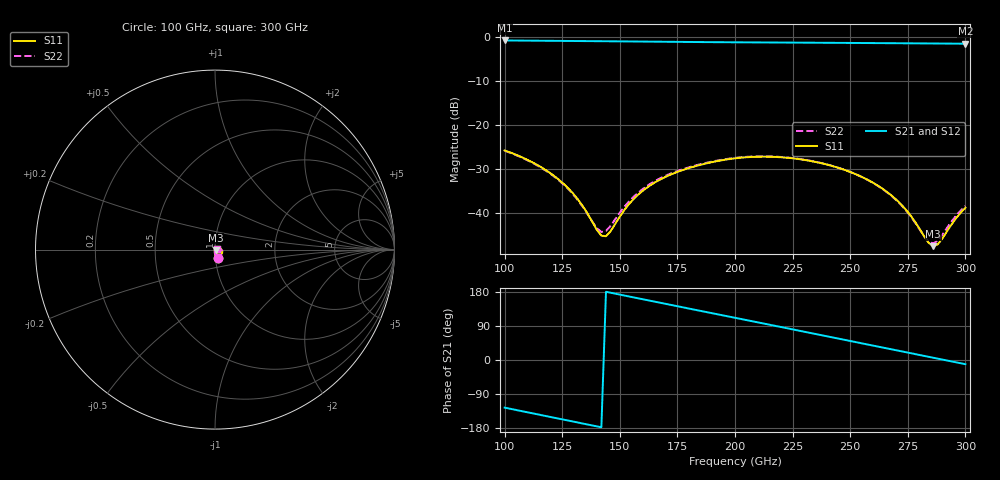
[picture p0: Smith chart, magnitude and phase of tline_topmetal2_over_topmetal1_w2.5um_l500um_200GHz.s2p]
#  GHZ S DB R 50
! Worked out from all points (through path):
!   101 points, 100 GHz to 300 GHz, reference 50 ohm
!   highest |S21| = -0.85 dB at 100 GHz (marker M1); lowest = -1.6 dB at 300 GHz (marker M2)
!   group delay of S21, straight-line fit = 3.4 ps
!   lowest |S11| = -47.4 dB at 286 GHz (marker M3), VSWR 1.01, Z = 50.4 - j0.23 ohm
!   |S11| at or under -10 dB: start of sweep to end of sweep
!   |S22| runs from -46.8 to -25.8 dB; largest |S21 - S12| = 1.5e-13
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100  -25.75 -71.0  -0.85 -125.7  -0.85 -125.7  -25.82 -70.5
110  -27.90 -80.8  -0.89 -138.1  -0.89 -138.1  -28.00 -80.0
120  -30.95 -89.0  -0.93 -150.4  -0.93 -150.4  -31.09 -87.7
128  -34.52 -92.5  -0.96 -160.3  -0.96 -160.3  -34.71 -90.1
134  -38.41 -89.3  -0.99 -167.7  -0.99 -167.7  -38.58 -85.1
140  -43.70 -66.8  -1.01 -175.1  -1.01 -175.1  -43.35 -59.1
142  -45.05 -49.1  -1.02 -177.6  -1.02 -177.6  -44.21 -41.7
144  -45.19 -27.9  -1.03 180.0  -1.03 180.0  -43.98 -23.2
156  -36.75 17.2  -1.08 165.2  -1.08 165.2  -36.24 15.5
168  -32.21 13.6  -1.14 150.5  -1.14 150.5  -31.94 12.1
184  -29.15 1.5  -1.21 130.9  -1.21 130.9  -28.99 0.3
200  -27.54 -13.9  -1.27 111.4  -1.27 111.4  -27.44 -14.9
218  -27.24 -34.0  -1.32 89.4  -1.32 89.4  -27.17 -34.8
234  -28.26 -51.9  -1.36 69.8  -1.36 69.8  -28.22 -52.6
254  -31.50 -72.5  -1.42 45.3  -1.42 45.3  -31.52 -72.8
268  -35.98 -82.5  -1.47 28.1  -1.47 28.1  -36.08 -82.2
276  -40.35 -81.1  -1.50 18.3  -1.50 18.3  -40.51 -79.5
284  -46.64 -50.9  -1.53 8.5  -1.53 8.5  -46.40 -45.7
286  -47.43 -32.5  -1.54 6.1  -1.54 6.1  -46.84 -27.6
288  -47.01 -13.2  -1.54 3.6  -1.54 3.6  -46.18 -10.2
296  -41.09 20.8  -1.57 -6.2  -1.57 -6.2  -40.51 19.7
300  -38.75 23.4  -1.59 -11.1  -1.59 -11.1  -38.29 22.0
